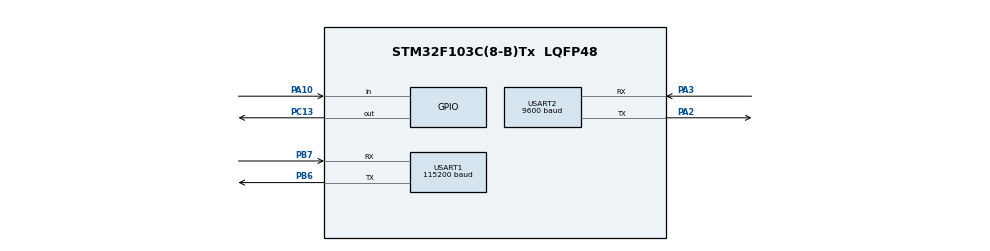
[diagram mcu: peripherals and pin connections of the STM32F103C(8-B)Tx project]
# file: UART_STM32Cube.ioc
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Mcu.Family=STM32F1
Mcu.Name=STM32F103C(8-B)Tx
Mcu.Package=LQFP48
NVIC.PriorityGroup=NVIC_PRIORITYGROUP_4
NVIC.USART1_IRQn=true\:0\:0\:false\:false\:true\:true\:true\:true
NVIC.USART2_IRQn=true\:0\:0\:false\:false\:true\:true\:true\:true
PA10.GPIO_PuPd=GPIO_NOPULL
PA10.Signal=GPIO_Input
PA13.Mode=Serial_Wire
PA13.Signal=SYS_JTMS-SWDIO
PA14.Mode=Serial_Wire
PA14.Signal=SYS_JTCK-SWCLK
PA2.Mode=Asynchronous
PA2.Signal=USART2_TX
PA3.Mode=Asynchronous
PA3.Signal=USART2_RX
PB6.Mode=Asynchronous
PB6.Signal=USART1_TX
PB7.Mode=Asynchronous
PB7.Signal=USART1_RX
PC13-TAMPER-RTC.GPIO_ModeDefaultOutputPP=GPIO_MODE_OUTPUT_OD
PC13-TAMPER-RTC.GPIO_PuPd=GPIO_NOPULL
PC13-TAMPER-RTC.Signal=GPIO_Output
PD0-OSC_IN.Mode=HSE-External-Oscillator
PD0-OSC_IN.Signal=RCC_OSC_IN
PD1-OSC_OUT.Mode=HSE-External-Oscillator
PD1-OSC_OUT.Signal=RCC_OSC_OUT
ProjectManager.HeapSize=0x200
ProjectManager.StackSize=0x400
ProjectManager.TargetToolchain=STM32CubeIDE
RCC.APB1Freq_Value=8000000
RCC.APB2Freq_Value=8000000
USART1.BaudRate=115200
USART1.VirtualMode=VM_ASYNC
USART2.BaudRate=9600
USART2.VirtualMode=VM_ASYNC
board=custom

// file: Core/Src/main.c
/* USER CODE BEGIN Header */
/**
 ******************************************************************************
 * @file           : main.c
 * @brief          : Main program body
 ******************************************************************************
 * @attention
 *
 * Copyright (c) 2023 STMicroelectronics.
 * All rights reserved.
 *
 * This software is licensed under terms that can be found in the LICENSE file
 * in the root directory of this software component.
 * If no LICENSE file comes with this software, it is provided AS-IS.
 *
 ******************************************************************************
 */
/* USER CODE END Header */
#include "main.h"

/* USER CODE BEGIN Includes */
#include <string.h>
/* USER CODE END Includes */

UART_HandleTypeDef huart1;
UART_HandleTypeDef huart2;

/* USER CODE BEGIN PV */
uint8_t buffer[100] = {0};
uint8_t tx_buffer[30] = "ATD0969170709;\r\n";
uint8_t rx_buffer[1] = {0};

uint8_t check = 0;
uint8_t ck = 0;
uint8_t idx = 0;
/* USER CODE END PV */

void SystemClock_Config(void);
static void MX_GPIO_Init(void);
static void MX_USART2_UART_Init(void);
static void MX_USART1_UART_Init(void);

int main(void)
{

  /* MCU Configuration--------------------------------------------------------*/

  /* Reset of all peripherals, Initializes the Flash interface and the Systick. */
  HAL_Init();

  /* Configure the system clock */
  SystemClock_Config();

  /* Initialize all configured peripherals */
  MX_GPIO_Init();
  MX_USART2_UART_Init();
  MX_USART1_UART_Init();
  /* USER CODE BEGIN 2 */
	HAL_UART_Receive_IT (&huart2, rx_buffer, 1);
	HAL_GPIO_WritePin(GPIOC, GPIO_PIN_13, 1);

	HAL_UART_Transmit(&huart2, "AT\r\n", strlen("AT\r\n"), 10);
	HAL_Delay(3000);
	HAL_UART_Transmit(&huart2, "AT+CPIN?\r\n", strlen("AT+CPIN?\r\n"), 10);
	HAL_Delay(3000);
	HAL_UART_Transmit(&huart2, "AT+CSQ\r\n", strlen("AT+CSQ\r\n"), 10);
	HAL_Delay(3000);
	HAL_UART_Transmit(&huart2, "AT+COPS?\r\n", strlen("AT+COPS?\r\n"), 10);
	HAL_Delay(3000);
	//HAL_UART_Transmit(&huart2, "ATD0969170709;\r\n", strlen("ATD0969170709;\r\n"), 10);
	HAL_GPIO_WritePin(GPIOC, GPIO_PIN_13, 0);

  /* USER CODE END 2 */

  /* Infinite loop */
  /* USER CODE BEGIN WHILE */
	while (1) {
//		if(check == 1){
//			HAL_GPIO_WritePin(GPIOC, GPIO_PIN_13, 0);
//			HAL_UART_Transmit(&huart1, buffer, 40, 10);
//			HAL_Delay(1000);
//			check = 0;
//		}
//		HAL_GPIO_WritePin(GPIOC, GPIO_PIN_13, 1);
    /* USER CODE END WHILE */

    /* USER CODE BEGIN 3 */
		//HAL_UART_Receive_IT (&huart2, rx_buffer, 27);
		if (HAL_GPIO_ReadPin(GPIOA, GPIO_PIN_10) == 0) {
			HAL_Delay(20);
			while (HAL_GPIO_ReadPin(GPIOA, GPIO_PIN_10) == 0) {
				if (ck == 0) {
					//HAL_GPIO_WritePin(GPIOC, GPIO_PIN_13, 0);
					HAL_UART_Transmit(&huart2, "ATD0969170709;\r\n", strlen("ATD0969170709;\r\n"), 100);
					HAL_UART_Transmit(&huart1, "ATD0969170709;\r\n", strlen("ATD0969170709;\r\n"), 100);
				}
				ck = 1;
			}
		}
		//HAL_GPIO_WritePin(GPIOC, GPIO_PIN_13, 1);
		ck = 0;
	}
  /* USER CODE END 3 */
}

void SystemClock_Config(void)
{
  RCC_OscInitTypeDef RCC_OscInitStruct = {0};
  RCC_ClkInitTypeDef RCC_ClkInitStruct = {0};

  /** Initializes the RCC Oscillators according to the specified parameters
  * in the RCC_OscInitTypeDef structure.
  */
  RCC_OscInitStruct.OscillatorType = RCC_OSCILLATORTYPE_HSI;
  RCC_OscInitStruct.HSIState = RCC_HSI_ON;
  RCC_OscInitStruct.HSICalibrationValue = RCC_HSICALIBRATION_DEFAULT;
  RCC_OscInitStruct.PLL.PLLState = RCC_PLL_NONE;
  if (HAL_RCC_OscConfig(&RCC_OscInitStruct) != HAL_OK)
  {
    Error_Handler();
  }

  /** Initializes the CPU, AHB and APB buses clocks
  */
  RCC_ClkInitStruct.ClockType = RCC_CLOCKTYPE_HCLK|RCC_CLOCKTYPE_SYSCLK
                              |RCC_CLOCKTYPE_PCLK1|RCC_CLOCKTYPE_PCLK2;
  RCC_ClkInitStruct.SYSCLKSource = RCC_SYSCLKSOURCE_HSI;
  RCC_ClkInitStruct.AHBCLKDivider = RCC_SYSCLK_DIV1;
  RCC_ClkInitStruct.APB1CLKDivider = RCC_HCLK_DIV1;
  RCC_ClkInitStruct.APB2CLKDivider = RCC_HCLK_DIV1;

  if (HAL_RCC_ClockConfig(&RCC_ClkInitStruct, FLASH_LATENCY_0) != HAL_OK)
  {
    Error_Handler();
  }
}

static void MX_USART1_UART_Init(void)
{

  huart1.Instance = USART1;
  huart1.Init.BaudRate = 115200;
  huart1.Init.WordLength = UART_WORDLENGTH_8B;
  huart1.Init.StopBits = UART_STOPBITS_1;
  huart1.Init.Parity = UART_PARITY_NONE;
  huart1.Init.Mode = UART_MODE_TX_RX;
  huart1.Init.HwFlowCtl = UART_HWCONTROL_NONE;
  huart1.Init.OverSampling = UART_OVERSAMPLING_16;
  if (HAL_UART_Init(&huart1) != HAL_OK)
  {
    Error_Handler();
  }

}

static void MX_USART2_UART_Init(void)
{

  huart2.Instance = USART2;
  huart2.Init.BaudRate = 9600;
  huart2.Init.WordLength = UART_WORDLENGTH_8B;
  huart2.Init.StopBits = UART_STOPBITS_1;
  huart2.Init.Parity = UART_PARITY_NONE;
  huart2.Init.Mode = UART_MODE_TX_RX;
  huart2.Init.HwFlowCtl = UART_HWCONTROL_NONE;
  huart2.Init.OverSampling = UART_OVERSAMPLING_16;
  if (HAL_UART_Init(&huart2) != HAL_OK)
  {
    Error_Handler();
  }

}

static void MX_GPIO_Init(void)
{
  GPIO_InitTypeDef GPIO_InitStruct = {0};

  /* GPIO Ports Clock Enable */
  __HAL_RCC_GPIOC_CLK_ENABLE();
  __HAL_RCC_GPIOD_CLK_ENABLE();
  __HAL_RCC_GPIOA_CLK_ENABLE();
  __HAL_RCC_GPIOB_CLK_ENABLE();

  /*Configure GPIO pin Output Level */
  HAL_GPIO_WritePin(GPIOC, GPIO_PIN_13, GPIO_PIN_RESET);

  /*Configure GPIO pin : PC13 */
  GPIO_InitStruct.Pin = GPIO_PIN_13;
  GPIO_InitStruct.Mode = GPIO_MODE_OUTPUT_OD;
  GPIO_InitStruct.Pull = GPIO_NOPULL;
  GPIO_InitStruct.Speed = GPIO_SPEED_FREQ_LOW;
  HAL_GPIO_Init(GPIOC, &GPIO_InitStruct);

  /*Configure GPIO pin : PA10 */
  GPIO_InitStruct.Pin = GPIO_PIN_10;
  GPIO_InitStruct.Mode = GPIO_MODE_INPUT;
  GPIO_InitStruct.Pull = GPIO_NOPULL;
  HAL_GPIO_Init(GPIOA, &GPIO_InitStruct);

}

/* USER CODE BEGIN 4 */
void HAL_UART_RxCpltCallback(UART_HandleTypeDef *huart)
{
  /* Prevent unused argument(s) compilation warning */
  UNUSED(huart);
  /* NOTE: This function should not be modified, when the callback is needed,
           the HAL_UART_RxCpltCallback could be implemented in the user file
   */

  if(huart->Instance == USART2)
  {
	  if(rx_buffer[0] != '\n' && idx < 100){
		  buffer[idx++] = rx_buffer[0];
	  }else{
		  buffer[idx++] = 10;
		  //check = 1;
		  HAL_UART_Transmit(&huart1, buffer, idx, 10);
		  idx = 0;
		  //memset(buffer, 0, sizeof(buffer));
	  }
	  HAL_UART_Receive_IT(&huart2, rx_buffer, 1);
  }

}

/* USER CODE END 4 */

void Error_Handler(void)
{
	__disable_irq();
	while (1) {
	}
}
